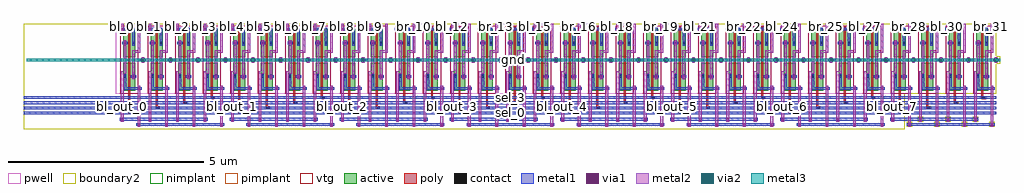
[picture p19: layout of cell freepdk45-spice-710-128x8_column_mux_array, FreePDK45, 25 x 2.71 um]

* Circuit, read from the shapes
.subckt freepdk45-spice-710-128x8_column_mux_array bl_0 bl_1 bl_10 bl_11 bl_12 bl_13 bl_14 bl_15 bl_16 bl_17 bl_18 bl_19 bl_2 bl_20 bl_21 bl_22 bl_23 bl_24 bl_25 bl_26 bl_27 bl_28 bl_29 bl_3 bl_30 bl_31 bl_4 bl_5 bl_6 bl_7 bl_8 bl_9 bl_out_0 bl_out_1 bl_out_2 bl_out_3 bl_out_4 bl_out_5 bl_out_6 bl_out_7 br_0 br_1 br_10 br_11 br_12 br_13 br_14 br_15 br_16 br_17 br_18 br_19 br_2 br_20 br_21 br_22 br_23 br_24 br_25 br_26 br_27 br_28 br_29 br_3 br_30 br_31 br_4 br_5 br_6 br_7 br_8 br_9 br_out_0 br_out_1 br_out_2 br_out_3 br_out_4 br_out_5 br_out_6 br_out_7 gnd sel_0 sel_1 sel_2 sel_3
M1 br_0 sel_0 br_out_0 gnd nfet w=0.72u l=0.05u
M2 bl_0 sel_0 bl_out_0 gnd nfet w=0.72u l=0.05u
M3 br_1 sel_1 br_out_0 gnd nfet w=0.72u l=0.05u
M4 bl_1 sel_1 bl_out_0 gnd nfet w=0.72u l=0.05u
M5 br_2 sel_2 br_out_0 gnd nfet w=0.72u l=0.05u
M6 bl_2 sel_2 bl_out_0 gnd nfet w=0.72u l=0.05u
M7 br_3 sel_3 br_out_0 gnd nfet w=0.72u l=0.05u
M8 bl_3 sel_3 bl_out_0 gnd nfet w=0.72u l=0.05u
M9 br_4 sel_0 br_out_1 gnd nfet w=0.72u l=0.05u
M10 bl_4 sel_0 bl_out_1 gnd nfet w=0.72u l=0.05u
M11 br_5 sel_1 br_out_1 gnd nfet w=0.72u l=0.05u
M12 bl_5 sel_1 bl_out_1 gnd nfet w=0.72u l=0.05u
M13 br_6 sel_2 br_out_1 gnd nfet w=0.72u l=0.05u
M14 bl_6 sel_2 bl_out_1 gnd nfet w=0.72u l=0.05u
M15 br_7 sel_3 br_out_1 gnd nfet w=0.72u l=0.05u
M16 bl_7 sel_3 bl_out_1 gnd nfet w=0.72u l=0.05u
M17 br_8 sel_0 br_out_2 gnd nfet w=0.72u l=0.05u
M18 bl_8 sel_0 bl_out_2 gnd nfet w=0.72u l=0.05u
M19 br_9 sel_1 br_out_2 gnd nfet w=0.72u l=0.05u
M20 bl_9 sel_1 bl_out_2 gnd nfet w=0.72u l=0.05u
M21 br_10 sel_2 br_out_2 gnd nfet w=0.72u l=0.05u
M22 bl_10 sel_2 bl_out_2 gnd nfet w=0.72u l=0.05u
M23 br_11 sel_3 br_out_2 gnd nfet w=0.72u l=0.05u
M24 bl_11 sel_3 bl_out_2 gnd nfet w=0.72u l=0.05u
M25 br_12 sel_0 br_out_3 gnd nfet w=0.72u l=0.05u
M26 bl_12 sel_0 bl_out_3 gnd nfet w=0.72u l=0.05u
M27 br_13 sel_1 br_out_3 gnd nfet w=0.72u l=0.05u
M28 bl_13 sel_1 bl_out_3 gnd nfet w=0.72u l=0.05u
M29 br_14 sel_2 br_out_3 gnd nfet w=0.72u l=0.05u
M30 bl_14 sel_2 bl_out_3 gnd nfet w=0.72u l=0.05u
M31 br_15 sel_3 br_out_3 gnd nfet w=0.72u l=0.05u
M32 bl_15 sel_3 bl_out_3 gnd nfet w=0.72u l=0.05u
M33 br_16 sel_0 br_out_4 gnd nfet w=0.72u l=0.05u
M34 bl_16 sel_0 bl_out_4 gnd nfet w=0.72u l=0.05u
M35 br_17 sel_1 br_out_4 gnd nfet w=0.72u l=0.05u
M36 bl_17 sel_1 bl_out_4 gnd nfet w=0.72u l=0.05u
M37 br_18 sel_2 br_out_4 gnd nfet w=0.72u l=0.05u
M38 bl_18 sel_2 bl_out_4 gnd nfet w=0.72u l=0.05u
M39 br_19 sel_3 br_out_4 gnd nfet w=0.72u l=0.05u
M40 bl_19 sel_3 bl_out_4 gnd nfet w=0.72u l=0.05u
M41 br_20 sel_0 br_out_5 gnd nfet w=0.72u l=0.05u
M42 bl_20 sel_0 bl_out_5 gnd nfet w=0.72u l=0.05u
M43 br_21 sel_1 br_out_5 gnd nfet w=0.72u l=0.05u
M44 bl_21 sel_1 bl_out_5 gnd nfet w=0.72u l=0.05u
M45 br_22 sel_2 br_out_5 gnd nfet w=0.72u l=0.05u
M46 bl_22 sel_2 bl_out_5 gnd nfet w=0.72u l=0.05u
M47 br_23 sel_3 br_out_5 gnd nfet w=0.72u l=0.05u
M48 bl_23 sel_3 bl_out_5 gnd nfet w=0.72u l=0.05u
M49 br_24 sel_0 br_out_6 gnd nfet w=0.72u l=0.05u
M50 bl_24 sel_0 bl_out_6 gnd nfet w=0.72u l=0.05u
M51 br_25 sel_1 br_out_6 gnd nfet w=0.72u l=0.05u
M52 bl_25 sel_1 bl_out_6 gnd nfet w=0.72u l=0.05u
M53 br_26 sel_2 br_out_6 gnd nfet w=0.72u l=0.05u
M54 bl_26 sel_2 bl_out_6 gnd nfet w=0.72u l=0.05u
M55 br_27 sel_3 br_out_6 gnd nfet w=0.72u l=0.05u
M56 bl_27 sel_3 bl_out_6 gnd nfet w=0.72u l=0.05u
M57 br_28 sel_0 br_out_7 gnd nfet w=0.72u l=0.05u
M58 bl_28 sel_0 bl_out_7 gnd nfet w=0.72u l=0.05u
M59 br_29 sel_1 br_out_7 gnd nfet w=0.72u l=0.05u
M60 bl_29 sel_1 bl_out_7 gnd nfet w=0.72u l=0.05u
M61 br_30 sel_2 br_out_7 gnd nfet w=0.72u l=0.05u
M62 bl_30 sel_2 bl_out_7 gnd nfet w=0.72u l=0.05u
M63 br_31 sel_3 br_out_7 gnd nfet w=0.72u l=0.05u
M64 bl_31 sel_3 bl_out_7 gnd nfet w=0.72u l=0.05u
.ends

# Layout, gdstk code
import gdstk
lib = gdstk.Library(unit=1e-6, precision=5e-10)
def R(c, l, rs):  # rectangles x0, y0, x1, y1
    for r in rs: c.add(gdstk.rectangle(r[:2], r[2:], *l))
def A(c, l, x, y, w, h, nx, ny, dx, dy):  # array of equal rectangles
    R(c, l, [(x+i*dx, y+j*dy, x+i*dx+w, y+j*dy+h) for i in range(nx) for j in range(ny)])
active = (1, 0)
pwell = (2, 0)
nimplant = (4, 0)
pimplant = (5, 0)
vtg = (6, 0)
poly = (9, 0)
contact = (10, 0)
metal1 = (11, 0)
via1 = (12, 0)
metal2 = (13, 0)
via2 = (14, 0)
metal3 = (15, 0)
boundary2 = (239, 0)

freepdk45_spice_710_128x = lib.new_cell('freepdk45-spice-710-128x8_contact_10')
R(freepdk45_spice_710_128x, active, [(0,0.0225,0.09,0.1125)])
R(freepdk45_spice_710_128x, pwell, [(-0.055,-0.0325,0.145,0.1675)])
R(freepdk45_spice_710_128x, nimplant, [(0,0.0225,0.09,0.1125)])
R(freepdk45_spice_710_128x, contact, [(0.0125,0.035,0.0775,0.1)])
R(freepdk45_spice_710_128x, metal1, [(0.0125,0,0.0775,0.135)])
R(freepdk45_spice_710_128x, boundary2, [(-0.055,-0.0325,0.145,0.1675)])

c_freepdk45_spice_710_128x = lib.new_cell('freepdk45-spice-710-128x8_nmos_m1_w0_720_sm1_dm1')
R(c_freepdk45_spice_710_128x, active, [(0,0,0.305,0.72)])
R(c_freepdk45_spice_710_128x, pwell, [(-0.08,-0.08,0.385,0.8)])
R(c_freepdk45_spice_710_128x, nimplant, [(0,0,0.305,0.72)])
R(c_freepdk45_spice_710_128x, vtg, [(-0.08,-0.08,0.385,0.8)])
R(c_freepdk45_spice_710_128x, poly, [(0.1275,-0.055,0.1775,0.775), (0.1275,-0.055,0.1775,0.775)])
R(c_freepdk45_spice_710_128x, metal1, [(0.0125,0.2925,0.0775,0.4275), (0.2275,0.2925,0.2925,0.4275)])
R(c_freepdk45_spice_710_128x, boundary2, [(-0.08,-0.08,0.385,0.8)])
c_freepdk45_spice_710_128x.add(gdstk.Reference(freepdk45_spice_710_128x, (0,0.2925)))
c_freepdk45_spice_710_128x.add(gdstk.Reference(freepdk45_spice_710_128x, (0.215,0.2925)))
c_freepdk45_spice_710_128x.add(gdstk.Label('G', (0.1525,0.36), layer=9, texttype=0))
c_freepdk45_spice_710_128x.add(gdstk.Label('S', (0.045,0.36), layer=11, texttype=0))
c_freepdk45_spice_710_128x.add(gdstk.Label('D', (0.26,0.36), layer=11, texttype=0))

c_freepdk45_spice_710_128x_ = lib.new_cell('freepdk45-spice-710-128x8_contact_17')
R(c_freepdk45_spice_710_128x_, metal1, [(0,0.035,0.135,0.1)])
R(c_freepdk45_spice_710_128x_, via1, [(0.035,0.035,0.1,0.1)])
R(c_freepdk45_spice_710_128x_, metal2, [(0.0325,0,0.1025,0.135)])
R(c_freepdk45_spice_710_128x_, boundary2, [(0,0,0.135,0.135)])

c_freepdk45_spice_710_128x__ = lib.new_cell('freepdk45-spice-710-128x8_contact_24')
R(c_freepdk45_spice_710_128x__, active, [(0.0225,0,0.1125,0.09)])
R(c_freepdk45_spice_710_128x__, pwell, [(-0.0325,-0.055,0.1675,0.145)])
R(c_freepdk45_spice_710_128x__, pimplant, [(0.0225,0,0.1125,0.09)])
R(c_freepdk45_spice_710_128x__, contact, [(0.035,0.0125,0.1,0.0775)])
R(c_freepdk45_spice_710_128x__, metal1, [(0,0.0125,0.135,0.0775)])
R(c_freepdk45_spice_710_128x__, boundary2, [(-0.0325,-0.055,0.1675,0.145)])

c_freepdk45_spice_710_128x___ = lib.new_cell('freepdk45-spice-710-128x8_column_mux')
R(c_freepdk45_spice_710_128x___, pwell, [(0,0,0.705,1.8)])
R(c_freepdk45_spice_710_128x___, poly, [(0.3275,0.025,0.3775,0.08), (0.3275,0.8,0.3775,0.94)])
R(c_freepdk45_spice_710_128x___, metal1, [(0.2125,0.1075,0.2775,0.1725), (0.245,0.1075,0.6,0.1725), (0.2125,0.14,0.2775,0.44), (0.6725,0.8375,0.7375,0.9025), (0.4275,1.3,0.4925,1.66), (0.14,1.6275,0.46,1.6925), (0.4275,1.6275,0.4925,1.6925)])
A(c_freepdk45_spice_710_128x___, metal2, 0.14, 0.515, 0.07, 0.07, 3, 1, 0.035, 0)
R(c_freepdk45_spice_710_128x___, metal2, [(0.14,0,0.21,0.14), (0.565,0,0.635,0.14), (0.14,0.14,0.21,0.55), (0.425,0.44,0.495,1.085), (0.21,0.55,0.28,1.3), (0.425,1.05,0.495,1.12), (0.46,1.05,0.6,1.12), (0.565,1.05,0.635,1.12), (0.565,1.085,0.635,1.66), (0.14,1.66,0.21,1.8), (0.565,1.66,0.635,1.8)])
R(c_freepdk45_spice_710_128x___, boundary2, [(0,0,0.705,1.8)])
c_freepdk45_spice_710_128x___.add(gdstk.Reference(c_freepdk45_spice_710_128x, (0.2,0.08)))
c_freepdk45_spice_710_128x___.add(gdstk.Reference(c_freepdk45_spice_710_128x, (0.2,0.94)))
c_freepdk45_spice_710_128x___.add(gdstk.Reference(c_freepdk45_spice_710_128x_, (0.1075,1.5925)))
c_freepdk45_spice_710_128x___.add(gdstk.Reference(c_freepdk45_spice_710_128x_, (0.5325,0.0725)))
c_freepdk45_spice_710_128x___.add(gdstk.Reference(c_freepdk45_spice_710_128x_, (0.1775,1.2325)))
c_freepdk45_spice_710_128x___.add(gdstk.Reference(c_freepdk45_spice_710_128x_, (0.3925,0.3725)))
c_freepdk45_spice_710_128x___.add(gdstk.Reference(c_freepdk45_spice_710_128x__, (0.6375,0.825)))
c_freepdk45_spice_710_128x___.add(gdstk.Reference(c_freepdk45_spice_710_128x_, (0.6375,0.8025)))
c_freepdk45_spice_710_128x___.add(gdstk.Label('sel', (0.3525,0.0525), layer=9, texttype=0))
c_freepdk45_spice_710_128x___.add(gdstk.Label('bl', (0.175,1.73), layer=13, texttype=0))
c_freepdk45_spice_710_128x___.add(gdstk.Label('br', (0.6,1.73), layer=13, texttype=0))
c_freepdk45_spice_710_128x___.add(gdstk.Label('bl_out', (0.175,0.07), layer=13, texttype=0))
c_freepdk45_spice_710_128x___.add(gdstk.Label('br_out', (0.6,0.07), layer=13, texttype=0))
c_freepdk45_spice_710_128x___.add(gdstk.Label('gnd', (0.705,0.87), layer=11, texttype=0))

c_freepdk45_spice_710_128x____ = lib.new_cell('freepdk45-spice-710-128x8_contact_25')
R(c_freepdk45_spice_710_128x____, poly, [(0.03,0,0.105,0.075)])
R(c_freepdk45_spice_710_128x____, contact, [(0.035,0.005,0.1,0.07)])
R(c_freepdk45_spice_710_128x____, metal1, [(0,0.005,0.135,0.07)])
R(c_freepdk45_spice_710_128x____, boundary2, [(0,0,0.135,0.075)])

c_freepdk45_spice_710_128x_____ = lib.new_cell('freepdk45-spice-710-128x8_contact_15')
R(c_freepdk45_spice_710_128x_____, metal1, [(0,0.035,0.135,0.1)])
R(c_freepdk45_spice_710_128x_____, via1, [(0.035,0.035,0.1,0.1)])
R(c_freepdk45_spice_710_128x_____, metal2, [(0.0325,0,0.1025,0.135)])
R(c_freepdk45_spice_710_128x_____, boundary2, [(0,0,0.135,0.135)])

c_freepdk45_spice_710_128x______ = lib.new_cell('freepdk45-spice-710-128x8_contact_18')
R(c_freepdk45_spice_710_128x______, metal2, [(0.0325,0,0.1025,0.135)])
R(c_freepdk45_spice_710_128x______, via2, [(0.035,0.035,0.1,0.1)])
R(c_freepdk45_spice_710_128x______, metal3, [(0,0.0325,0.135,0.1025)])
R(c_freepdk45_spice_710_128x______, boundary2, [(0,0,0.135,0.135)])

c_freepdk45_spice_710_128x_______ = lib.new_cell('freepdk45-spice-710-128x8_column_mux_array')
R(c_freepdk45_spice_710_128x_______, pwell, [(2.345,0.91,24.905,2.71)])
A(c_freepdk45_spice_710_128x_______, poly, 2.6725, 0.3975, 0.05, 0.05, 8, 1, 2.82, 0)
A(c_freepdk45_spice_710_128x_______, poly, 2.6975, 0.3975, 0.035, 0.05, 8, 1, 2.82, 0)
A(c_freepdk45_spice_710_128x_______, poly, 3.3775, 0.5275, 0.05, 0.05, 8, 1, 2.82, 0)
A(c_freepdk45_spice_710_128x_______, poly, 3.4025, 0.5275, 0.035, 0.05, 8, 1, 2.82, 0)
A(c_freepdk45_spice_710_128x_______, poly, 4.0825, 0.6575, 0.05, 0.05, 8, 1, 2.82, 0)
A(c_freepdk45_spice_710_128x_______, poly, 4.1075, 0.6575, 0.035, 0.05, 8, 1, 2.82, 0)
A(c_freepdk45_spice_710_128x_______, poly, 4.7875, 0.7875, 0.05, 0.05, 8, 1, 2.82, 0)
A(c_freepdk45_spice_710_128x_______, poly, 4.8125, 0.7875, 0.035, 0.05, 8, 1, 2.82, 0)
R(c_freepdk45_spice_710_128x_______, poly, [(2.6725,0.4225,2.7225,0.935), (2.6725,0.4225,2.7225,0.935), (5.4925,0.4225,5.5425,0.935), (5.4925,0.4225,5.5425,0.935), (8.3125,0.4225,8.3625,0.935), (8.3125,0.4225,8.3625,0.935), (11.1325,0.4225,11.1825,0.935), (11.1325,0.4225,11.1825,0.935), (13.9525,0.4225,14.0025,0.935), (13.9525,0.4225,14.0025,0.935), (16.7725,0.4225,16.8225,0.935), (16.7725,0.4225,16.8225,0.935), (19.5925,0.4225,19.6425,0.935), (19.5925,0.4225,19.6425,0.935), (22.4125,0.4225,22.4625,0.935), (22.4125,0.4225,22.4625,0.935), (3.3775,0.5525,3.4275,0.935), (3.3775,0.5525,3.4275,0.935), (6.1975,0.5525,6.2475,0.935), (6.1975,0.5525,6.2475,0.935), (9.0175,0.5525,9.0675,0.935), (9.0175,0.5525,9.0675,0.935), (11.8375,0.5525,11.8875,0.935), (11.8375,0.5525,11.8875,0.935), (14.6575,0.5525,14.7075,0.935), (14.6575,0.5525,14.7075,0.935), (17.4775,0.5525,17.5275,0.935), (17.4775,0.5525,17.5275,0.935), (20.2975,0.5525,20.3475,0.935), (20.2975,0.5525,20.3475,0.935), (23.1175,0.5525,23.1675,0.935), (23.1175,0.5525,23.1675,0.935), (4.0825,0.6825,4.1325,0.935), (4.0825,0.6825,4.1325,0.935), (6.9025,0.6825,6.9525,0.935), (6.9025,0.6825,6.9525,0.935), (9.7225,0.6825,9.7725,0.935), (9.7225,0.6825,9.7725,0.935), (12.5425,0.6825,12.5925,0.935), (12.5425,0.6825,12.5925,0.935), (15.3625,0.6825,15.4125,0.935), (15.3625,0.6825,15.4125,0.935), (18.1825,0.6825,18.2325,0.935), (18.1825,0.6825,18.2325,0.935), (21.0025,0.6825,21.0525,0.935), (21.0025,0.6825,21.0525,0.935), (23.8225,0.6825,23.8725,0.935), (23.8225,0.6825,23.8725,0.935), (4.7875,0.8125,4.8375,0.935), (4.7875,0.8125,4.8375,0.935), (7.6075,0.8125,7.6575,0.935), (7.6075,0.8125,7.6575,0.935), (10.4275,0.8125,10.4775,0.935), (10.4275,0.8125,10.4775,0.935), (13.2475,0.8125,13.2975,0.935), (13.2475,0.8125,13.2975,0.935), (16.0675,0.8125,16.1175,0.935), (16.0675,0.8125,16.1175,0.935), (18.8875,0.8125,18.9375,0.935), (18.8875,0.8125,18.9375,0.935), (21.7075,0.8125,21.7575,0.935), (21.7075,0.8125,21.7575,0.935), (24.5275,0.8125,24.5775,0.935), (24.5275,0.8125,24.5775,0.935)])
A(c_freepdk45_spice_710_128x_______, metal1, 2.945, 0.0975, 2.115, 0.065, 8, 1, 2.82, 0)
A(c_freepdk45_spice_710_128x_______, metal1, 2.52, 0.2275, 2.115, 0.065, 8, 1, 2.82, 0)
A(c_freepdk45_spice_710_128x_______, metal1, 0, 0.39, 24.905, 0.065, 1, 4, 0, 0.13)
A(c_freepdk45_spice_710_128x_______, metal2, 2.91, 0.13, 0.07, 0.78, 32, 1, 0.705, 0)
A(c_freepdk45_spice_710_128x_______, metal2, 2.485, 0.26, 0.07, 0.65, 32, 1, 0.705, 0)
R(c_freepdk45_spice_710_128x_______, metal2, [(2.485,2.57,2.555,2.71), (2.91,2.57,2.98,2.71), (3.19,2.57,3.26,2.71), (3.615,2.57,3.685,2.71), (3.895,2.57,3.965,2.71), (4.32,2.57,4.39,2.71), (4.6,2.57,4.67,2.71), (5.025,2.57,5.095,2.71), (5.305,2.57,5.375,2.71), (5.73,2.57,5.8,2.71), (6.01,2.57,6.08,2.71), (6.435,2.57,6.505,2.71), (6.715,2.57,6.785,2.71), (7.14,2.57,7.21,2.71), (7.42,2.57,7.49,2.71), (7.845,2.57,7.915,2.71), (8.125,2.57,8.195,2.71), (8.55,2.57,8.62,2.71), (8.83,2.57,8.9,2.71), (9.255,2.57,9.325,2.71), (9.535,2.57,9.605,2.71), (9.96,2.57,10.03,2.71), (10.24,2.57,10.31,2.71), (10.665,2.57,10.735,2.71), (10.945,2.57,11.015,2.71), (11.37,2.57,11.44,2.71), (11.65,2.57,11.72,2.71), (12.075,2.57,12.145,2.71), (12.355,2.57,12.425,2.71), (12.78,2.57,12.85,2.71), (13.06,2.57,13.13,2.71), (13.485,2.57,13.555,2.71), (13.765,2.57,13.835,2.71), (14.19,2.57,14.26,2.71), (14.47,2.57,14.54,2.71), (14.895,2.57,14.965,2.71), (15.175,2.57,15.245,2.71), (15.6,2.57,15.67,2.71), (15.88,2.57,15.95,2.71), (16.305,2.57,16.375,2.71), (16.585,2.57,16.655,2.71), (17.01,2.57,17.08,2.71), (17.29,2.57,17.36,2.71), (17.715,2.57,17.785,2.71), (17.995,2.57,18.065,2.71), (18.42,2.57,18.49,2.71), (18.7,2.57,18.77,2.71), (19.125,2.57,19.195,2.71), (19.405,2.57,19.475,2.71), (19.83,2.57,19.9,2.71), (20.11,2.57,20.18,2.71), (20.535,2.57,20.605,2.71), (20.815,2.57,20.885,2.71), (21.24,2.57,21.31,2.71), (21.52,2.57,21.59,2.71), (21.945,2.57,22.015,2.71), (22.225,2.57,22.295,2.71), (22.65,2.57,22.72,2.71), (22.93,2.57,23,2.71), (23.355,2.57,23.425,2.71), (23.635,2.57,23.705,2.71), (24.06,2.57,24.13,2.71), (24.34,2.57,24.41,2.71), (24.765,2.57,24.835,2.71)])
R(c_freepdk45_spice_710_128x_______, metal3, [(0.0675,1.745,25.005,1.815)])
R(c_freepdk45_spice_710_128x_______, boundary2, [(0,0,22.56,2.71)])
c_freepdk45_spice_710_128x_______.add(gdstk.Reference(c_freepdk45_spice_710_128x___, (2.345,0.91)))
c_freepdk45_spice_710_128x_______.add(gdstk.Reference(c_freepdk45_spice_710_128x___, (3.05,0.91)))
c_freepdk45_spice_710_128x_______.add(gdstk.Reference(c_freepdk45_spice_710_128x___, (3.755,0.91)))
c_freepdk45_spice_710_128x_______.add(gdstk.Reference(c_freepdk45_spice_710_128x___, (4.46,0.91)))
c_freepdk45_spice_710_128x_______.add(gdstk.Reference(c_freepdk45_spice_710_128x___, (5.165,0.91)))
c_freepdk45_spice_710_128x_______.add(gdstk.Reference(c_freepdk45_spice_710_128x___, (5.87,0.91)))
c_freepdk45_spice_710_128x_______.add(gdstk.Reference(c_freepdk45_spice_710_128x___, (6.575,0.91)))
c_freepdk45_spice_710_128x_______.add(gdstk.Reference(c_freepdk45_spice_710_128x___, (7.28,0.91)))
c_freepdk45_spice_710_128x_______.add(gdstk.Reference(c_freepdk45_spice_710_128x___, (7.985,0.91)))
c_freepdk45_spice_710_128x_______.add(gdstk.Reference(c_freepdk45_spice_710_128x___, (8.69,0.91)))
c_freepdk45_spice_710_128x_______.add(gdstk.Reference(c_freepdk45_spice_710_128x___, (9.395,0.91)))
c_freepdk45_spice_710_128x_______.add(gdstk.Reference(c_freepdk45_spice_710_128x___, (10.1,0.91)))
c_freepdk45_spice_710_128x_______.add(gdstk.Reference(c_freepdk45_spice_710_128x___, (10.805,0.91)))
c_freepdk45_spice_710_128x_______.add(gdstk.Reference(c_freepdk45_spice_710_128x___, (11.51,0.91)))
c_freepdk45_spice_710_128x_______.add(gdstk.Reference(c_freepdk45_spice_710_128x___, (12.215,0.91)))
c_freepdk45_spice_710_128x_______.add(gdstk.Reference(c_freepdk45_spice_710_128x___, (12.92,0.91)))
c_freepdk45_spice_710_128x_______.add(gdstk.Reference(c_freepdk45_spice_710_128x___, (13.625,0.91)))
c_freepdk45_spice_710_128x_______.add(gdstk.Reference(c_freepdk45_spice_710_128x___, (14.33,0.91)))
c_freepdk45_spice_710_128x_______.add(gdstk.Reference(c_freepdk45_spice_710_128x___, (15.035,0.91)))
c_freepdk45_spice_710_128x_______.add(gdstk.Reference(c_freepdk45_spice_710_128x___, (15.74,0.91)))
c_freepdk45_spice_710_128x_______.add(gdstk.Reference(c_freepdk45_spice_710_128x___, (16.445,0.91)))
c_freepdk45_spice_710_128x_______.add(gdstk.Reference(c_freepdk45_spice_710_128x___, (17.15,0.91)))
c_freepdk45_spice_710_128x_______.add(gdstk.Reference(c_freepdk45_spice_710_128x___, (17.855,0.91)))
c_freepdk45_spice_710_128x_______.add(gdstk.Reference(c_freepdk45_spice_710_128x___, (18.56,0.91)))
c_freepdk45_spice_710_128x_______.add(gdstk.Reference(c_freepdk45_spice_710_128x___, (19.265,0.91)))
c_freepdk45_spice_710_128x_______.add(gdstk.Reference(c_freepdk45_spice_710_128x___, (19.97,0.91)))
c_freepdk45_spice_710_128x_______.add(gdstk.Reference(c_freepdk45_spice_710_128x___, (20.675,0.91)))
c_freepdk45_spice_710_128x_______.add(gdstk.Reference(c_freepdk45_spice_710_128x___, (21.38,0.91)))
c_freepdk45_spice_710_128x_______.add(gdstk.Reference(c_freepdk45_spice_710_128x___, (22.085,0.91)))
c_freepdk45_spice_710_128x_______.add(gdstk.Reference(c_freepdk45_spice_710_128x___, (22.79,0.91)))
c_freepdk45_spice_710_128x_______.add(gdstk.Reference(c_freepdk45_spice_710_128x___, (23.495,0.91)))
c_freepdk45_spice_710_128x_______.add(gdstk.Reference(c_freepdk45_spice_710_128x___, (24.2,0.91)))
c_freepdk45_spice_710_128x_______.add(gdstk.Reference(c_freepdk45_spice_710_128x____, (2.665,0.385)))
c_freepdk45_spice_710_128x_______.add(gdstk.Reference(c_freepdk45_spice_710_128x____, (3.37,0.515)))
c_freepdk45_spice_710_128x_______.add(gdstk.Reference(c_freepdk45_spice_710_128x____, (4.075,0.645)))
c_freepdk45_spice_710_128x_______.add(gdstk.Reference(c_freepdk45_spice_710_128x____, (4.78,0.775)))
c_freepdk45_spice_710_128x_______.add(gdstk.Reference(c_freepdk45_spice_710_128x____, (5.485,0.385)))
c_freepdk45_spice_710_128x_______.add(gdstk.Reference(c_freepdk45_spice_710_128x____, (6.19,0.515)))
c_freepdk45_spice_710_128x_______.add(gdstk.Reference(c_freepdk45_spice_710_128x____, (6.895,0.645)))
c_freepdk45_spice_710_128x_______.add(gdstk.Reference(c_freepdk45_spice_710_128x____, (7.6,0.775)))
c_freepdk45_spice_710_128x_______.add(gdstk.Reference(c_freepdk45_spice_710_128x____, (8.305,0.385)))
c_freepdk45_spice_710_128x_______.add(gdstk.Reference(c_freepdk45_spice_710_128x____, (9.01,0.515)))
c_freepdk45_spice_710_128x_______.add(gdstk.Reference(c_freepdk45_spice_710_128x____, (9.715,0.645)))
c_freepdk45_spice_710_128x_______.add(gdstk.Reference(c_freepdk45_spice_710_128x____, (10.42,0.775)))
c_freepdk45_spice_710_128x_______.add(gdstk.Reference(c_freepdk45_spice_710_128x____, (11.125,0.385)))
c_freepdk45_spice_710_128x_______.add(gdstk.Reference(c_freepdk45_spice_710_128x____, (11.83,0.515)))
c_freepdk45_spice_710_128x_______.add(gdstk.Reference(c_freepdk45_spice_710_128x____, (12.535,0.645)))
c_freepdk45_spice_710_128x_______.add(gdstk.Reference(c_freepdk45_spice_710_128x____, (13.24,0.775)))
c_freepdk45_spice_710_128x_______.add(gdstk.Reference(c_freepdk45_spice_710_128x____, (13.945,0.385)))
c_freepdk45_spice_710_128x_______.add(gdstk.Reference(c_freepdk45_spice_710_128x____, (14.65,0.515)))
c_freepdk45_spice_710_128x_______.add(gdstk.Reference(c_freepdk45_spice_710_128x____, (15.355,0.645)))
c_freepdk45_spice_710_128x_______.add(gdstk.Reference(c_freepdk45_spice_710_128x____, (16.06,0.775)))
c_freepdk45_spice_710_128x_______.add(gdstk.Reference(c_freepdk45_spice_710_128x____, (16.765,0.385)))
c_freepdk45_spice_710_128x_______.add(gdstk.Reference(c_freepdk45_spice_710_128x____, (17.47,0.515)))
c_freepdk45_spice_710_128x_______.add(gdstk.Reference(c_freepdk45_spice_710_128x____, (18.175,0.645)))
c_freepdk45_spice_710_128x_______.add(gdstk.Reference(c_freepdk45_spice_710_128x____, (18.88,0.775)))
c_freepdk45_spice_710_128x_______.add(gdstk.Reference(c_freepdk45_spice_710_128x____, (19.585,0.385)))
c_freepdk45_spice_710_128x_______.add(gdstk.Reference(c_freepdk45_spice_710_128x____, (20.29,0.515)))
c_freepdk45_spice_710_128x_______.add(gdstk.Reference(c_freepdk45_spice_710_128x____, (20.995,0.645)))
c_freepdk45_spice_710_128x_______.add(gdstk.Reference(c_freepdk45_spice_710_128x____, (21.7,0.775)))
c_freepdk45_spice_710_128x_______.add(gdstk.Reference(c_freepdk45_spice_710_128x____, (22.405,0.385)))
c_freepdk45_spice_710_128x_______.add(gdstk.Reference(c_freepdk45_spice_710_128x____, (23.11,0.515)))
c_freepdk45_spice_710_128x_______.add(gdstk.Reference(c_freepdk45_spice_710_128x____, (23.815,0.645)))
c_freepdk45_spice_710_128x_______.add(gdstk.Reference(c_freepdk45_spice_710_128x____, (24.52,0.775)))
c_freepdk45_spice_710_128x_______.add(gdstk.Reference(c_freepdk45_spice_710_128x_____, (2.4525,0.1925)))
c_freepdk45_spice_710_128x_______.add(gdstk.Reference(c_freepdk45_spice_710_128x_____, (2.8775,0.0625)))
c_freepdk45_spice_710_128x_______.add(gdstk.Reference(c_freepdk45_spice_710_128x_____, (3.1575,0.1925)))
c_freepdk45_spice_710_128x_______.add(gdstk.Reference(c_freepdk45_spice_710_128x_____, (3.5825,0.0625)))
c_freepdk45_spice_710_128x_______.add(gdstk.Reference(c_freepdk45_spice_710_128x_____, (3.8625,0.1925)))
c_freepdk45_spice_710_128x_______.add(gdstk.Reference(c_freepdk45_spice_710_128x_____, (4.2875,0.0625)))
c_freepdk45_spice_710_128x_______.add(gdstk.Reference(c_freepdk45_spice_710_128x_____, (4.5675,0.1925)))
c_freepdk45_spice_710_128x_______.add(gdstk.Reference(c_freepdk45_spice_710_128x_____, (4.9925,0.0625)))
c_freepdk45_spice_710_128x_______.add(gdstk.Reference(c_freepdk45_spice_710_128x_____, (5.2725,0.1925)))
c_freepdk45_spice_710_128x_______.add(gdstk.Reference(c_freepdk45_spice_710_128x_____, (5.6975,0.0625)))
c_freepdk45_spice_710_128x_______.add(gdstk.Reference(c_freepdk45_spice_710_128x_____, (5.9775,0.1925)))
c_freepdk45_spice_710_128x_______.add(gdstk.Reference(c_freepdk45_spice_710_128x_____, (6.4025,0.0625)))
c_freepdk45_spice_710_128x_______.add(gdstk.Reference(c_freepdk45_spice_710_128x_____, (6.6825,0.1925)))
c_freepdk45_spice_710_128x_______.add(gdstk.Reference(c_freepdk45_spice_710_128x_____, (7.1075,0.0625)))
c_freepdk45_spice_710_128x_______.add(gdstk.Reference(c_freepdk45_spice_710_128x_____, (7.3875,0.1925)))
c_freepdk45_spice_710_128x_______.add(gdstk.Reference(c_freepdk45_spice_710_128x_____, (7.8125,0.0625)))
c_freepdk45_spice_710_128x_______.add(gdstk.Reference(c_freepdk45_spice_710_128x_____, (8.0925,0.1925)))
c_freepdk45_spice_710_128x_______.add(gdstk.Reference(c_freepdk45_spice_710_128x_____, (8.5175,0.0625)))
c_freepdk45_spice_710_128x_______.add(gdstk.Reference(c_freepdk45_spice_710_128x_____, (8.7975,0.1925)))
c_freepdk45_spice_710_128x_______.add(gdstk.Reference(c_freepdk45_spice_710_128x_____, (9.2225,0.0625)))
c_freepdk45_spice_710_128x_______.add(gdstk.Reference(c_freepdk45_spice_710_128x_____, (9.5025,0.1925)))
c_freepdk45_spice_710_128x_______.add(gdstk.Reference(c_freepdk45_spice_710_128x_____, (9.9275,0.0625)))
c_freepdk45_spice_710_128x_______.add(gdstk.Reference(c_freepdk45_spice_710_128x_____, (10.2075,0.1925)))
c_freepdk45_spice_710_128x_______.add(gdstk.Reference(c_freepdk45_spice_710_128x_____, (10.6325,0.0625)))
c_freepdk45_spice_710_128x_______.add(gdstk.Reference(c_freepdk45_spice_710_128x_____, (10.9125,0.1925)))
c_freepdk45_spice_710_128x_______.add(gdstk.Reference(c_freepdk45_spice_710_128x_____, (11.3375,0.0625)))
c_freepdk45_spice_710_128x_______.add(gdstk.Reference(c_freepdk45_spice_710_128x_____, (11.6175,0.1925)))
c_freepdk45_spice_710_128x_______.add(gdstk.Reference(c_freepdk45_spice_710_128x_____, (12.0425,0.0625)))
c_freepdk45_spice_710_128x_______.add(gdstk.Reference(c_freepdk45_spice_710_128x_____, (12.3225,0.1925)))
c_freepdk45_spice_710_128x_______.add(gdstk.Reference(c_freepdk45_spice_710_128x_____, (12.7475,0.0625)))
c_freepdk45_spice_710_128x_______.add(gdstk.Reference(c_freepdk45_spice_710_128x_____, (13.0275,0.1925)))
c_freepdk45_spice_710_128x_______.add(gdstk.Reference(c_freepdk45_spice_710_128x_____, (13.4525,0.0625)))
c_freepdk45_spice_710_128x_______.add(gdstk.Reference(c_freepdk45_spice_710_128x_____, (13.7325,0.1925)))
c_freepdk45_spice_710_128x_______.add(gdstk.Reference(c_freepdk45_spice_710_128x_____, (14.1575,0.0625)))
c_freepdk45_spice_710_128x_______.add(gdstk.Reference(c_freepdk45_spice_710_128x_____, (14.4375,0.1925)))
c_freepdk45_spice_710_128x_______.add(gdstk.Reference(c_freepdk45_spice_710_128x_____, (14.8625,0.0625)))
c_freepdk45_spice_710_128x_______.add(gdstk.Reference(c_freepdk45_spice_710_128x_____, (15.1425,0.1925)))
c_freepdk45_spice_710_128x_______.add(gdstk.Reference(c_freepdk45_spice_710_128x_____, (15.5675,0.0625)))
c_freepdk45_spice_710_128x_______.add(gdstk.Reference(c_freepdk45_spice_710_128x_____, (15.8475,0.1925)))
c_freepdk45_spice_710_128x_______.add(gdstk.Reference(c_freepdk45_spice_710_128x_____, (16.2725,0.0625)))
c_freepdk45_spice_710_128x_______.add(gdstk.Reference(c_freepdk45_spice_710_128x_____, (16.5525,0.1925)))
c_freepdk45_spice_710_128x_______.add(gdstk.Reference(c_freepdk45_spice_710_128x_____, (16.9775,0.0625)))
c_freepdk45_spice_710_128x_______.add(gdstk.Reference(c_freepdk45_spice_710_128x_____, (17.2575,0.1925)))
c_freepdk45_spice_710_128x_______.add(gdstk.Reference(c_freepdk45_spice_710_128x_____, (17.6825,0.0625)))
c_freepdk45_spice_710_128x_______.add(gdstk.Reference(c_freepdk45_spice_710_128x_____, (17.9625,0.1925)))
c_freepdk45_spice_710_128x_______.add(gdstk.Reference(c_freepdk45_spice_710_128x_____, (18.3875,0.0625)))
c_freepdk45_spice_710_128x_______.add(gdstk.Reference(c_freepdk45_spice_710_128x_____, (18.6675,0.1925)))
c_freepdk45_spice_710_128x_______.add(gdstk.Reference(c_freepdk45_spice_710_128x_____, (19.0925,0.0625)))
c_freepdk45_spice_710_128x_______.add(gdstk.Reference(c_freepdk45_spice_710_128x_____, (19.3725,0.1925)))
c_freepdk45_spice_710_128x_______.add(gdstk.Reference(c_freepdk45_spice_710_128x_____, (19.7975,0.0625)))
c_freepdk45_spice_710_128x_______.add(gdstk.Reference(c_freepdk45_spice_710_128x_____, (20.0775,0.1925)))
c_freepdk45_spice_710_128x_______.add(gdstk.Reference(c_freepdk45_spice_710_128x_____, (20.5025,0.0625)))
c_freepdk45_spice_710_128x_______.add(gdstk.Reference(c_freepdk45_spice_710_128x_____, (20.7825,0.1925)))
c_freepdk45_spice_710_128x_______.add(gdstk.Reference(c_freepdk45_spice_710_128x_____, (21.2075,0.0625)))
c_freepdk45_spice_710_128x_______.add(gdstk.Reference(c_freepdk45_spice_710_128x_____, (21.4875,0.1925)))
c_freepdk45_spice_710_128x_______.add(gdstk.Reference(c_freepdk45_spice_710_128x_____, (21.9125,0.0625)))
c_freepdk45_spice_710_128x_______.add(gdstk.Reference(c_freepdk45_spice_710_128x_____, (22.1925,0.1925)))
c_freepdk45_spice_710_128x_______.add(gdstk.Reference(c_freepdk45_spice_710_128x_____, (22.6175,0.0625)))
c_freepdk45_spice_710_128x_______.add(gdstk.Reference(c_freepdk45_spice_710_128x_____, (22.8975,0.1925)))
c_freepdk45_spice_710_128x_______.add(gdstk.Reference(c_freepdk45_spice_710_128x_____, (23.3225,0.0625)))
c_freepdk45_spice_710_128x_______.add(gdstk.Reference(c_freepdk45_spice_710_128x_____, (23.6025,0.1925)))
c_freepdk45_spice_710_128x_______.add(gdstk.Reference(c_freepdk45_spice_710_128x_____, (24.0275,0.0625)))
c_freepdk45_spice_710_128x_______.add(gdstk.Reference(c_freepdk45_spice_710_128x_____, (24.3075,0.1925)))
c_freepdk45_spice_710_128x_______.add(gdstk.Reference(c_freepdk45_spice_710_128x_____, (24.7325,0.0625)))
c_freepdk45_spice_710_128x_______.add(gdstk.Reference(c_freepdk45_spice_710_128x_, (2.9825,1.7125)))
c_freepdk45_spice_710_128x_______.add(gdstk.Reference(c_freepdk45_spice_710_128x______, (2.9825,1.7125)))
c_freepdk45_spice_710_128x_______.add(gdstk.Reference(c_freepdk45_spice_710_128x_, (3.6875,1.7125)))
c_freepdk45_spice_710_128x_______.add(gdstk.Reference(c_freepdk45_spice_710_128x______, (3.6875,1.7125)))
c_freepdk45_spice_710_128x_______.add(gdstk.Reference(c_freepdk45_spice_710_128x_, (4.3925,1.7125)))
c_freepdk45_spice_710_128x_______.add(gdstk.Reference(c_freepdk45_spice_710_128x______, (4.3925,1.7125)))
c_freepdk45_spice_710_128x_______.add(gdstk.Reference(c_freepdk45_spice_710_128x_, (5.0975,1.7125)))
c_freepdk45_spice_710_128x_______.add(gdstk.Reference(c_freepdk45_spice_710_128x______, (5.0975,1.7125)))
c_freepdk45_spice_710_128x_______.add(gdstk.Reference(c_freepdk45_spice_710_128x_, (5.8025,1.7125)))
c_freepdk45_spice_710_128x_______.add(gdstk.Reference(c_freepdk45_spice_710_128x______, (5.8025,1.7125)))
c_freepdk45_spice_710_128x_______.add(gdstk.Reference(c_freepdk45_spice_710_128x_, (6.5075,1.7125)))
c_freepdk45_spice_710_128x_______.add(gdstk.Reference(c_freepdk45_spice_710_128x______, (6.5075,1.7125)))
c_freepdk45_spice_710_128x_______.add(gdstk.Reference(c_freepdk45_spice_710_128x_, (7.2125,1.7125)))
c_freepdk45_spice_710_128x_______.add(gdstk.Reference(c_freepdk45_spice_710_128x______, (7.2125,1.7125)))
c_freepdk45_spice_710_128x_______.add(gdstk.Reference(c_freepdk45_spice_710_128x_, (7.9175,1.7125)))
c_freepdk45_spice_710_128x_______.add(gdstk.Reference(c_freepdk45_spice_710_128x______, (7.9175,1.7125)))
c_freepdk45_spice_710_128x_______.add(gdstk.Reference(c_freepdk45_spice_710_128x_, (8.6225,1.7125)))
c_freepdk45_spice_710_128x_______.add(gdstk.Reference(c_freepdk45_spice_710_128x______, (8.6225,1.7125)))
c_freepdk45_spice_710_128x_______.add(gdstk.Reference(c_freepdk45_spice_710_128x_, (9.3275,1.7125)))
c_freepdk45_spice_710_128x_______.add(gdstk.Reference(c_freepdk45_spice_710_128x______, (9.3275,1.7125)))
c_freepdk45_spice_710_128x_______.add(gdstk.Reference(c_freepdk45_spice_710_128x_, (10.0325,1.7125)))
c_freepdk45_spice_710_128x_______.add(gdstk.Reference(c_freepdk45_spice_710_128x______, (10.0325,1.7125)))
c_freepdk45_spice_710_128x_______.add(gdstk.Reference(c_freepdk45_spice_710_128x_, (10.7375,1.7125)))
c_freepdk45_spice_710_128x_______.add(gdstk.Reference(c_freepdk45_spice_710_128x______, (10.7375,1.7125)))
c_freepdk45_spice_710_128x_______.add(gdstk.Reference(c_freepdk45_spice_710_128x_, (11.4425,1.7125)))
c_freepdk45_spice_710_128x_______.add(gdstk.Reference(c_freepdk45_spice_710_128x______, (11.4425,1.7125)))
c_freepdk45_spice_710_128x_______.add(gdstk.Reference(c_freepdk45_spice_710_128x_, (12.1475,1.7125)))
c_freepdk45_spice_710_128x_______.add(gdstk.Reference(c_freepdk45_spice_710_128x______, (12.1475,1.7125)))
c_freepdk45_spice_710_128x_______.add(gdstk.Reference(c_freepdk45_spice_710_128x_, (12.8525,1.7125)))
c_freepdk45_spice_710_128x_______.add(gdstk.Reference(c_freepdk45_spice_710_128x______, (12.8525,1.7125)))
c_freepdk45_spice_710_128x_______.add(gdstk.Reference(c_freepdk45_spice_710_128x_, (13.5575,1.7125)))
c_freepdk45_spice_710_128x_______.add(gdstk.Reference(c_freepdk45_spice_710_128x______, (13.5575,1.7125)))
c_freepdk45_spice_710_128x_______.add(gdstk.Reference(c_freepdk45_spice_710_128x_, (14.2625,1.7125)))
c_freepdk45_spice_710_128x_______.add(gdstk.Reference(c_freepdk45_spice_710_128x______, (14.2625,1.7125)))
c_freepdk45_spice_710_128x_______.add(gdstk.Reference(c_freepdk45_spice_710_128x_, (14.9675,1.7125)))
c_freepdk45_spice_710_128x_______.add(gdstk.Reference(c_freepdk45_spice_710_128x______, (14.9675,1.7125)))
c_freepdk45_spice_710_128x_______.add(gdstk.Reference(c_freepdk45_spice_710_128x_, (15.6725,1.7125)))
c_freepdk45_spice_710_128x_______.add(gdstk.Reference(c_freepdk45_spice_710_128x______, (15.6725,1.7125)))
c_freepdk45_spice_710_128x_______.add(gdstk.Reference(c_freepdk45_spice_710_128x_, (16.3775,1.7125)))
c_freepdk45_spice_710_128x_______.add(gdstk.Reference(c_freepdk45_spice_710_128x______, (16.3775,1.7125)))
c_freepdk45_spice_710_128x_______.add(gdstk.Reference(c_freepdk45_spice_710_128x_, (17.0825,1.7125)))
c_freepdk45_spice_710_128x_______.add(gdstk.Reference(c_freepdk45_spice_710_128x______, (17.0825,1.7125)))
c_freepdk45_spice_710_128x_______.add(gdstk.Reference(c_freepdk45_spice_710_128x_, (17.7875,1.7125)))
c_freepdk45_spice_710_128x_______.add(gdstk.Reference(c_freepdk45_spice_710_128x______, (17.7875,1.7125)))
c_freepdk45_spice_710_128x_______.add(gdstk.Reference(c_freepdk45_spice_710_128x_, (18.4925,1.7125)))
c_freepdk45_spice_710_128x_______.add(gdstk.Reference(c_freepdk45_spice_710_128x______, (18.4925,1.7125)))
c_freepdk45_spice_710_128x_______.add(gdstk.Reference(c_freepdk45_spice_710_128x_, (19.1975,1.7125)))
c_freepdk45_spice_710_128x_______.add(gdstk.Reference(c_freepdk45_spice_710_128x______, (19.1975,1.7125)))
c_freepdk45_spice_710_128x_______.add(gdstk.Reference(c_freepdk45_spice_710_128x_, (19.9025,1.7125)))
c_freepdk45_spice_710_128x_______.add(gdstk.Reference(c_freepdk45_spice_710_128x______, (19.9025,1.7125)))
c_freepdk45_spice_710_128x_______.add(gdstk.Reference(c_freepdk45_spice_710_128x_, (20.6075,1.7125)))
c_freepdk45_spice_710_128x_______.add(gdstk.Reference(c_freepdk45_spice_710_128x______, (20.6075,1.7125)))
c_freepdk45_spice_710_128x_______.add(gdstk.Reference(c_freepdk45_spice_710_128x_, (21.3125,1.7125)))
c_freepdk45_spice_710_128x_______.add(gdstk.Reference(c_freepdk45_spice_710_128x______, (21.3125,1.7125)))
c_freepdk45_spice_710_128x_______.add(gdstk.Reference(c_freepdk45_spice_710_128x_, (22.0175,1.7125)))
c_freepdk45_spice_710_128x_______.add(gdstk.Reference(c_freepdk45_spice_710_128x______, (22.0175,1.7125)))
c_freepdk45_spice_710_128x_______.add(gdstk.Reference(c_freepdk45_spice_710_128x_, (22.7225,1.7125)))
c_freepdk45_spice_710_128x_______.add(gdstk.Reference(c_freepdk45_spice_710_128x______, (22.7225,1.7125)))
c_freepdk45_spice_710_128x_______.add(gdstk.Reference(c_freepdk45_spice_710_128x_, (23.4275,1.7125)))
c_freepdk45_spice_710_128x_______.add(gdstk.Reference(c_freepdk45_spice_710_128x______, (23.4275,1.7125)))
c_freepdk45_spice_710_128x_______.add(gdstk.Reference(c_freepdk45_spice_710_128x_, (24.1325,1.7125)))
c_freepdk45_spice_710_128x_______.add(gdstk.Reference(c_freepdk45_spice_710_128x______, (24.1325,1.7125)))
c_freepdk45_spice_710_128x_______.add(gdstk.Reference(c_freepdk45_spice_710_128x_, (24.8375,1.7125)))
c_freepdk45_spice_710_128x_______.add(gdstk.Reference(c_freepdk45_spice_710_128x______, (24.8375,1.7125)))
c_freepdk45_spice_710_128x_______.add(gdstk.Label('sel_0', (12.4525,0.4225), layer=11, texttype=0))
c_freepdk45_spice_710_128x_______.add(gdstk.Label('sel_1', (12.4525,0.5525), layer=11, texttype=0))
c_freepdk45_spice_710_128x_______.add(gdstk.Label('sel_2', (12.4525,0.6825), layer=11, texttype=0))
c_freepdk45_spice_710_128x_______.add(gdstk.Label('sel_3', (12.4525,0.8125), layer=11, texttype=0))
c_freepdk45_spice_710_128x_______.add(gdstk.Label('bl_out_0', (2.52,0.585), layer=13, texttype=0))
c_freepdk45_spice_710_128x_______.add(gdstk.Label('br_out_0', (2.945,0.52), layer=13, texttype=0))
c_freepdk45_spice_710_128x_______.add(gdstk.Label('bl_out_1', (5.34,0.585), layer=13, texttype=0))
c_freepdk45_spice_710_128x_______.add(gdstk.Label('br_out_1', (5.765,0.52), layer=13, texttype=0))
c_freepdk45_spice_710_128x_______.add(gdstk.Label('bl_out_2', (8.16,0.585), layer=13, texttype=0))
c_freepdk45_spice_710_128x_______.add(gdstk.Label('br_out_2', (8.585,0.52), layer=13, texttype=0))
c_freepdk45_spice_710_128x_______.add(gdstk.Label('bl_out_3', (10.98,0.585), layer=13, texttype=0))
c_freepdk45_spice_710_128x_______.add(gdstk.Label('br_out_3', (11.405,0.52), layer=13, texttype=0))
c_freepdk45_spice_710_128x_______.add(gdstk.Label('bl_out_4', (13.8,0.585), layer=13, texttype=0))
c_freepdk45_spice_710_128x_______.add(gdstk.Label('br_out_4', (14.225,0.52), layer=13, texttype=0))
c_freepdk45_spice_710_128x_______.add(gdstk.Label('bl_out_5', (16.62,0.585), layer=13, texttype=0))
c_freepdk45_spice_710_128x_______.add(gdstk.Label('br_out_5', (17.045,0.52), layer=13, texttype=0))
c_freepdk45_spice_710_128x_______.add(gdstk.Label('bl_out_6', (19.44,0.585), layer=13, texttype=0))
c_freepdk45_spice_710_128x_______.add(gdstk.Label('br_out_6', (19.865,0.52), layer=13, texttype=0))
c_freepdk45_spice_710_128x_______.add(gdstk.Label('bl_out_7', (22.26,0.585), layer=13, texttype=0))
c_freepdk45_spice_710_128x_______.add(gdstk.Label('br_out_7', (22.685,0.52), layer=13, texttype=0))
c_freepdk45_spice_710_128x_______.add(gdstk.Label('gnd', (12.536,1.78), layer=15, texttype=0))
c_freepdk45_spice_710_128x_______.add(gdstk.Label('bl_0', (2.52,2.64), layer=13, texttype=0))
c_freepdk45_spice_710_128x_______.add(gdstk.Label('br_0', (2.945,2.64), layer=13, texttype=0))
c_freepdk45_spice_710_128x_______.add(gdstk.Label('bl_1', (3.225,2.64), layer=13, texttype=0))
c_freepdk45_spice_710_128x_______.add(gdstk.Label('br_1', (3.65,2.64), layer=13, texttype=0))
c_freepdk45_spice_710_128x_______.add(gdstk.Label('bl_2', (3.93,2.64), layer=13, texttype=0))
c_freepdk45_spice_710_128x_______.add(gdstk.Label('br_2', (4.355,2.64), layer=13, texttype=0))
c_freepdk45_spice_710_128x_______.add(gdstk.Label('bl_3', (4.635,2.64), layer=13, texttype=0))
c_freepdk45_spice_710_128x_______.add(gdstk.Label('br_3', (5.06,2.64), layer=13, texttype=0))
c_freepdk45_spice_710_128x_______.add(gdstk.Label('bl_4', (5.34,2.64), layer=13, texttype=0))
c_freepdk45_spice_710_128x_______.add(gdstk.Label('br_4', (5.765,2.64), layer=13, texttype=0))
c_freepdk45_spice_710_128x_______.add(gdstk.Label('bl_5', (6.045,2.64), layer=13, texttype=0))
c_freepdk45_spice_710_128x_______.add(gdstk.Label('br_5', (6.47,2.64), layer=13, texttype=0))
c_freepdk45_spice_710_128x_______.add(gdstk.Label('bl_6', (6.75,2.64), layer=13, texttype=0))
c_freepdk45_spice_710_128x_______.add(gdstk.Label('br_6', (7.175,2.64), layer=13, texttype=0))
c_freepdk45_spice_710_128x_______.add(gdstk.Label('bl_7', (7.455,2.64), layer=13, texttype=0))
c_freepdk45_spice_710_128x_______.add(gdstk.Label('br_7', (7.88,2.64), layer=13, texttype=0))
c_freepdk45_spice_710_128x_______.add(gdstk.Label('bl_8', (8.16,2.64), layer=13, texttype=0))
c_freepdk45_spice_710_128x_______.add(gdstk.Label('br_8', (8.585,2.64), layer=13, texttype=0))
c_freepdk45_spice_710_128x_______.add(gdstk.Label('bl_9', (8.865,2.64), layer=13, texttype=0))
c_freepdk45_spice_710_128x_______.add(gdstk.Label('br_9', (9.29,2.64), layer=13, texttype=0))
c_freepdk45_spice_710_128x_______.add(gdstk.Label('bl_10', (9.57,2.64), layer=13, texttype=0))
c_freepdk45_spice_710_128x_______.add(gdstk.Label('br_10', (9.995,2.64), layer=13, texttype=0))
c_freepdk45_spice_710_128x_______.add(gdstk.Label('bl_11', (10.275,2.64), layer=13, texttype=0))
c_freepdk45_spice_710_128x_______.add(gdstk.Label('br_11', (10.7,2.64), layer=13, texttype=0))
c_freepdk45_spice_710_128x_______.add(gdstk.Label('bl_12', (10.98,2.64), layer=13, texttype=0))
c_freepdk45_spice_710_128x_______.add(gdstk.Label('br_12', (11.405,2.64), layer=13, texttype=0))
c_freepdk45_spice_710_128x_______.add(gdstk.Label('bl_13', (11.685,2.64), layer=13, texttype=0))
c_freepdk45_spice_710_128x_______.add(gdstk.Label('br_13', (12.11,2.64), layer=13, texttype=0))
c_freepdk45_spice_710_128x_______.add(gdstk.Label('bl_14', (12.39,2.64), layer=13, texttype=0))
c_freepdk45_spice_710_128x_______.add(gdstk.Label('br_14', (12.815,2.64), layer=13, texttype=0))
c_freepdk45_spice_710_128x_______.add(gdstk.Label('bl_15', (13.095,2.64), layer=13, texttype=0))
c_freepdk45_spice_710_128x_______.add(gdstk.Label('br_15', (13.52,2.64), layer=13, texttype=0))
c_freepdk45_spice_710_128x_______.add(gdstk.Label('bl_16', (13.8,2.64), layer=13, texttype=0))
c_freepdk45_spice_710_128x_______.add(gdstk.Label('br_16', (14.225,2.64), layer=13, texttype=0))
c_freepdk45_spice_710_128x_______.add(gdstk.Label('bl_17', (14.505,2.64), layer=13, texttype=0))
c_freepdk45_spice_710_128x_______.add(gdstk.Label('br_17', (14.93,2.64), layer=13, texttype=0))
c_freepdk45_spice_710_128x_______.add(gdstk.Label('bl_18', (15.21,2.64), layer=13, texttype=0))
c_freepdk45_spice_710_128x_______.add(gdstk.Label('br_18', (15.635,2.64), layer=13, texttype=0))
c_freepdk45_spice_710_128x_______.add(gdstk.Label('bl_19', (15.915,2.64), layer=13, texttype=0))
c_freepdk45_spice_710_128x_______.add(gdstk.Label('br_19', (16.34,2.64), layer=13, texttype=0))
c_freepdk45_spice_710_128x_______.add(gdstk.Label('bl_20', (16.62,2.64), layer=13, texttype=0))
c_freepdk45_spice_710_128x_______.add(gdstk.Label('br_20', (17.045,2.64), layer=13, texttype=0))
c_freepdk45_spice_710_128x_______.add(gdstk.Label('bl_21', (17.325,2.64), layer=13, texttype=0))
c_freepdk45_spice_710_128x_______.add(gdstk.Label('br_21', (17.75,2.64), layer=13, texttype=0))
c_freepdk45_spice_710_128x_______.add(gdstk.Label('bl_22', (18.03,2.64), layer=13, texttype=0))
c_freepdk45_spice_710_128x_______.add(gdstk.Label('br_22', (18.455,2.64), layer=13, texttype=0))
c_freepdk45_spice_710_128x_______.add(gdstk.Label('bl_23', (18.735,2.64), layer=13, texttype=0))
c_freepdk45_spice_710_128x_______.add(gdstk.Label('br_23', (19.16,2.64), layer=13, texttype=0))
c_freepdk45_spice_710_128x_______.add(gdstk.Label('bl_24', (19.44,2.64), layer=13, texttype=0))
c_freepdk45_spice_710_128x_______.add(gdstk.Label('br_24', (19.865,2.64), layer=13, texttype=0))
c_freepdk45_spice_710_128x_______.add(gdstk.Label('bl_25', (20.145,2.64), layer=13, texttype=0))
c_freepdk45_spice_710_128x_______.add(gdstk.Label('br_25', (20.57,2.64), layer=13, texttype=0))
c_freepdk45_spice_710_128x_______.add(gdstk.Label('bl_26', (20.85,2.64), layer=13, texttype=0))
c_freepdk45_spice_710_128x_______.add(gdstk.Label('br_26', (21.275,2.64), layer=13, texttype=0))
c_freepdk45_spice_710_128x_______.add(gdstk.Label('bl_27', (21.555,2.64), layer=13, texttype=0))
c_freepdk45_spice_710_128x_______.add(gdstk.Label('br_27', (21.98,2.64), layer=13, texttype=0))
c_freepdk45_spice_710_128x_______.add(gdstk.Label('bl_28', (22.26,2.64), layer=13, texttype=0))
c_freepdk45_spice_710_128x_______.add(gdstk.Label('br_28', (22.685,2.64), layer=13, texttype=0))
c_freepdk45_spice_710_128x_______.add(gdstk.Label('bl_29', (22.965,2.64), layer=13, texttype=0))
c_freepdk45_spice_710_128x_______.add(gdstk.Label('br_29', (23.39,2.64), layer=13, texttype=0))
c_freepdk45_spice_710_128x_______.add(gdstk.Label('bl_30', (23.67,2.64), layer=13, texttype=0))
c_freepdk45_spice_710_128x_______.add(gdstk.Label('br_30', (24.095,2.64), layer=13, texttype=0))
c_freepdk45_spice_710_128x_______.add(gdstk.Label('bl_31', (24.375,2.64), layer=13, texttype=0))
c_freepdk45_spice_710_128x_______.add(gdstk.Label('br_31', (24.8,2.64), layer=13, texttype=0))

lib.write_gds('freepdk45-spice-710-128x8_column_mux_array.gds')
